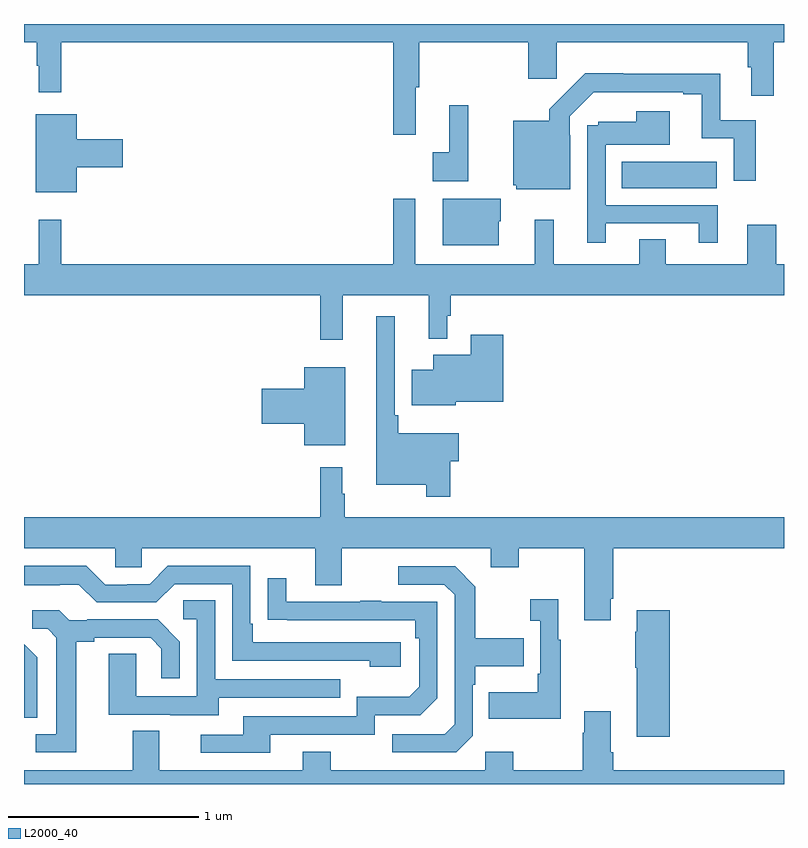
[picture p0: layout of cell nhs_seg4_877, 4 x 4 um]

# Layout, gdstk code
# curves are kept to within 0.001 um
import gdstk
lib = gdstk.Library(unit=1e-6, precision=1e-09)
def R(c, l, rs):  # rectangles x0, y0, x1, y1
    for r in rs: c.add(gdstk.rectangle(r[:2], r[2:], *l))
def P(c, l, *ps):  # polygons
    for p in ps: c.add(gdstk.Polygon(p, *l))
L2000_40 = (2000, 40)

nhs_seg4_877 = lib.new_cell('nhs_seg4_877')
R(nhs_seg4_877, L2000_40, [(158.146,812.036,158.647,812.176)])
P(nhs_seg4_877, L2000_40, [(157.061,812.568),(157.079,812.568),(157.079,812.804),(157.655,812.804),(157.655,812.613),(157.805,812.613),(157.805,812.804),(158.809,812.804),(158.809,812.672),(158.828,812.672),(158.828,812.523),(158.945,812.523),(158.945,812.804),(159,812.804),(159,812.9),(155,812.9),(155,812.804),(155.067,812.804),(155.067,812.681),(155.078,812.681),(155.078,812.541),(155.195,812.541),(155.195,812.804),(156.943,812.804),(156.943,812.316),(157.061,812.316)],
  [(157.876,812.315),(157.872,812.315),(157.872,812.415),(157.998,812.541),(158.471,812.541),(158.471,812.529),(158.567,812.529),(158.567,812.298),(158.736,812.298),(158.736,812.076),(158.852,812.076),(158.852,812.394),(158.665,812.394),(158.665,812.638),(158.153,812.638),(158.153,812.641),(157.954,812.641),(157.764,812.451),(157.764,812.392),(157.574,812.392),(157.574,812.052),(157.59,812.052),(157.59,812.03),(157.876,812.03)],
  [(157.338,812.473),(157.238,812.473),(157.238,812.225),(157.152,812.225),(157.152,812.072),(157.338,812.072)],
  [(158.062,811.851),(158.552,811.851),(158.552,811.749),(158.65,811.749),(158.65,811.947),(158.061,811.947),(158.061,812.264),(158.398,812.264),(158.398,812.44),(158.222,812.44),(158.222,812.386),(158.022,812.386),(158.022,812.367),(157.965,812.367),(157.965,811.749),(158.062,811.749)],
  [(155.278,812.147),(155.521,812.147),(155.521,812.294),(155.278,812.294),(155.278,812.425),(155.063,812.425),(155.063,812.015),(155.278,812.015)],
  [(159,811.636),(158.96,811.636),(158.96,811.843),(158.807,811.843),(158.807,811.636),(158.377,811.636),(158.377,811.766),(158.237,811.766),(158.237,811.636),(157.787,811.636),(157.787,811.87),(157.688,811.87),(157.688,811.636),(157.06,811.636),(157.06,811.981),(156.943,811.981),(156.943,811.636),(155.195,811.636),(155.195,811.87),(155.078,811.87),(155.078,811.636),(155,811.636),(155,811.472),(156.559,811.472),(156.559,811.239),(156.677,811.239),(156.677,811.472),(157.13,811.472),(157.13,811.244),(157.227,811.244),(157.227,811.365),(157.247,811.365),(157.247,811.472),(159,811.472)],
  [(157.498,811.863),(157.509,811.863),(157.509,811.981),(157.205,811.981),(157.205,811.736),(157.498,811.736)],
  [(157.244,810.598),(157.288,810.598),(157.288,810.745),(156.971,810.745),(156.971,810.841),(156.951,810.841),(156.951,811.363),(156.854,811.363),(156.854,810.476),(157.116,810.476),(157.116,810.411),(157.244,810.411)],
  [(157.272,810.911),(157.523,810.911),(157.523,811.264),(157.352,811.264),(157.352,811.159),(157.154,811.159),(157.154,811.081),(157.04,811.081),(157.04,810.893),(157.272,810.893)],
  [(156.691,811.093),(156.476,811.093),(156.476,810.98),(156.252,810.98),(156.252,810.797),(156.476,810.797),(156.476,810.683),(156.691,810.683)],
  [(158.089,809.875),(158.102,809.875),(158.102,810.14),(159,810.14),(159,810.304),(156.688,810.304),(156.688,810.428),(156.676,810.428),(156.676,810.568),(156.559,810.568),(156.559,810.304),(155,810.304),(155,810.14),(155.481,810.14),(155.481,810.042),(155.619,810.042),(155.619,810.14),(156.533,810.14),(156.533,809.946),(156.673,809.946),(156.673,810.14),(157.457,810.14),(157.457,810.041),(157.605,810.041),(157.605,810.14),(157.949,810.14),(157.949,809.763),(158.089,809.763)],
  [(156.982,809.646),(156.205,809.646),(156.205,809.743),(156.192,809.743),(156.192,810.048),(155.757,810.048),(155.661,809.952),(155.543,809.952),(155.543,809.949),(155.427,809.949),(155.327,810.049),(155,810.049),(155,809.945),(155.189,809.945),(155.189,809.949),(155.289,809.949),(155.382,809.856),(155.697,809.856),(155.793,809.952),(156.096,809.952),(156.096,809.55),(156.821,809.55),(156.821,809.516),(156.982,809.516)],
  [(157.362,809.154),(157.362,809.423),(157.375,809.423),(157.375,809.519),(157.631,809.519),(157.631,809.667),(157.375,809.667),(157.375,809.939),(157.269,810.045),(156.969,810.045),(156.969,809.949),(157.212,809.949),(157.266,809.895),(157.266,809.214),(157.215,809.163),(156.939,809.163),(156.939,809.067),(157.275,809.067)],
  [(156.295,809.16),(156.846,809.16),(156.846,809.262),(157.086,809.262),(157.176,809.352),(157.176,809.859),(156.881,809.859),(156.881,809.864),(156.769,809.864),(156.769,809.859),(156.379,809.859),(156.379,809.983),(156.283,809.983),(156.283,809.764),(157.06,809.763),(157.06,809.666),(157.08,809.666),(157.08,809.412),(157.027,809.359),(156.75,809.359),(156.75,809.256),(156.155,809.256),(156.155,809.16),(155.931,809.16),(155.931,809.064),(156.295,809.064)],
  [(157.825,809.659),(157.813,809.659),(157.813,809.872),(157.665,809.872),(157.665,809.759),(157.716,809.759),(157.716,809.479),(157.704,809.479),(157.704,809.383),(157.447,809.383),(157.447,809.243),(157.825,809.243)],
  [(156.025,809.355),(156.665,809.355),(156.665,809.451),(156.006,809.451),(156.006,809.867),(155.838,809.867),(155.838,809.766),(155.91,809.766),(155.91,809.361),(155.592,809.361),(155.592,809.585),(155.447,809.585),(155.447,809.265),(155.771,809.265),(155.771,809.261),(156.025,809.261)],
  [(158.398,809.815),(158.225,809.815),(158.225,809.702),(158.218,809.702),(158.218,809.513),(158.225,809.513),(158.225,809.148),(158.398,809.148)],
  [(155.275,809.648),(155.371,809.648),(155.371,809.67),(155.666,809.67),(155.723,809.613),(155.723,809.457),(155.82,809.457),(155.82,809.65),(155.704,809.766),(155.332,809.766),(155.332,809.763),(155.238,809.763),(155.186,809.815),(155.043,809.815),(155.043,809.718),(155.124,809.718),(155.171,809.671),(155.171,809.163),(155.061,809.163),(155.061,809.067),(155.275,809.067)],
  [(155.07,809.566),(155,809.636),(155,809.248),(155.07,809.248)],
  [(159,808.972),(158.102,808.972),(158.102,809.068),(158.089,809.068),(158.089,809.284),(157.949,809.284),(157.949,809.171),(157.942,809.171),(157.942,808.972),(157.575,808.972),(157.575,809.071),(157.428,809.071),(157.428,808.972),(156.615,808.972),(156.615,809.071),(156.467,809.071),(156.467,808.972),(155.713,808.972),(155.713,809.18),(155.573,809.18),(155.573,808.972),(155,808.972),(155,808.9),(159,808.9)])

lib.write_gds('nhs_seg4_877.gds')
